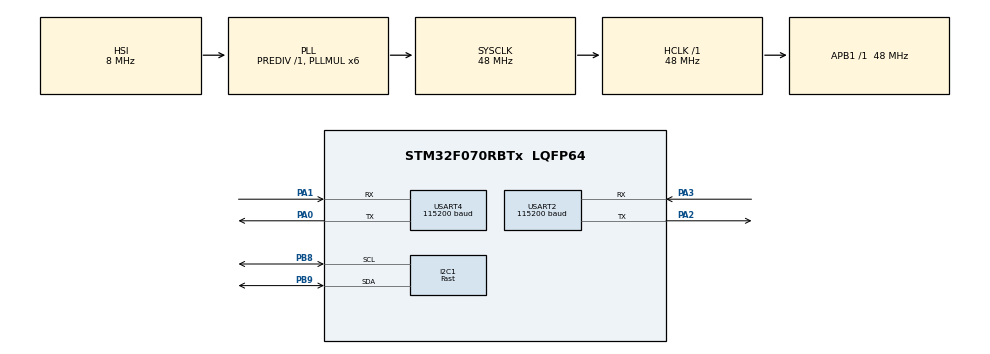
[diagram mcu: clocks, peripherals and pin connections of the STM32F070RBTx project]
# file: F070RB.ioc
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I2C1.I2C_Coeff_DF=5
I2C1.I2C_Fall_Time=300
I2C1.I2C_Rise_Time=300
I2C1.I2C_Speed_Mode=I2C_Fast
I2C1.Timing=0x00300003
Mcu.Family=STM32F0
Mcu.Name=STM32F070RBTx
Mcu.Package=LQFP64
NVIC.TIM3_IRQn=true\:0\:0\:false\:false\:true\:true
NVIC.USART2_IRQn=true\:1\:0\:true\:false\:true\:true
NVIC.USART3_4_IRQn=true\:0\:0\:true\:false\:true\:true
PA0.Mode=Asynchronous
PA0.Signal=USART4_TX
PA1.Mode=Asynchronous
PA1.Signal=USART4_RX
PA2.Mode=Asynchronous
PA2.Signal=USART2_TX
PA3.Mode=Asynchronous
PA3.Signal=USART2_RX
PB8.Mode=I2C
PB8.Signal=I2C1_SCL
PB9.Mode=I2C
PB9.Signal=I2C1_SDA
PC14-OSC32_IN.Mode=LSE-External-Oscillator
PC14-OSC32_IN.Signal=RCC_OSC32_IN
PC15-OSC32_OUT.Mode=LSE-External-Oscillator
PC15-OSC32_OUT.Signal=RCC_OSC32_OUT
ProjectManager.HeapSize=0x400
ProjectManager.StackSize=0x800
ProjectManager.TargetToolchain=MDK-ARM V5
RCC.AHBFreq_Value=48000000
RCC.APB1Freq_Value=48000000
RCC.APB1TimFreq_Value=48000000
RCC.HCLKFreq_Value=48000000
RCC.PLLMUL=RCC_PLL_MUL6
RCC.SYSCLKFreq_VALUE=48000000
RCC.SYSCLKSource=RCC_SYSCLKSOURCE_PLLCLK
TIM3.Period=65535
USART2.BaudRate=115200
USART2.VirtualMode-Asynchronous=VM_ASYNC
USART2.WordLength=WORDLENGTH_8B
USART4.BaudRate=115200
USART4.VirtualMode-Asynchronous=VM_ASYNC
USART4.WordLength=WORDLENGTH_8B
VP_TIM3_VS_ClockSourceINT.Mode=Internal
board=F070RB

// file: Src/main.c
/**
  ******************************************************************************
  * @file           : main.c
  * @brief          : Main program body
  ******************************************************************************
  ** This notice applies to any and all portions of this file
  * that are not between comment pairs USER CODE BEGIN and
  * USER CODE END. Other portions of this file, whether
  * inserted by the user or by software development tools
  * are owned by their respective copyright owners.
  *
  * COPYRIGHT(c) 2018 STMicroelectronics
  *
  * Redistribution and use in source and binary forms, with or without modification,
  * are permitted provided that the following conditions are met:
  *   1. Redistributions of source code must retain the above copyright notice,
  *      this list of conditions and the following disclaimer.
  *   2. Redistributions in binary form must reproduce the above copyright notice,
  *      this list of conditions and the following disclaimer in the documentation
  *      and/or other materials provided with the distribution.
  *   3. Neither the name of STMicroelectronics nor the names of its contributors
  *      may be used to endorse or promote products derived from this software
  *      without specific prior written permission.
  *
  * THIS SOFTWARE IS PROVIDED BY THE COPYRIGHT HOLDERS AND CONTRIBUTORS "AS IS"
  * AND ANY EXPRESS OR IMPLIED WARRANTIES, INCLUDING, BUT NOT LIMITED TO, THE
  * IMPLIED WARRANTIES OF MERCHANTABILITY AND FITNESS FOR A PARTICULAR PURPOSE ARE
  * DISCLAIMED. IN NO EVENT SHALL THE COPYRIGHT HOLDER OR CONTRIBUTORS BE LIABLE
  * FOR ANY DIRECT, INDIRECT, INCIDENTAL, SPECIAL, EXEMPLARY, OR CONSEQUENTIAL
  * DAMAGES (INCLUDING, BUT NOT LIMITED TO, PROCUREMENT OF SUBSTITUTE GOODS OR
  * SERVICES; LOSS OF USE, DATA, OR PROFITS; OR BUSINESS INTERRUPTION) HOWEVER
  * CAUSED AND ON ANY THEORY OF LIABILITY, WHETHER IN CONTRACT, STRICT LIABILITY,
  * OR TORT (INCLUDING NEGLIGENCE OR OTHERWISE) ARISING IN ANY WAY OUT OF THE USE
  * OF THIS SOFTWARE, EVEN IF ADVISED OF THE POSSIBILITY OF SUCH DAMAGE.
  *
  ******************************************************************************
  */
#include "main.h"
#include "stm32f0xx_hal.h"
#include "i2c.h"
#include "tim.h"
#include "usart.h"
#include "gpio.h"

/* USER CODE BEGIN Includes */
#include "JY901.h"
#include "MadgwickAHRS.h"
#include "mpu9250.h"

/* USER CODE END Includes */

/* USER CODE BEGIN PV */
/* Private variables ---------------------------------------------------------*/
uint8_t data;
/* USER CODE END PV */

void SystemClock_Config(void);

/* USER CODE BEGIN PFP */
/* Private function prototypes -----------------------------------------------*/

/* USER CODE END PFP */

int main(void)
{

  /* MCU Configuration----------------------------------------------------------*/

  /* Reset of all peripherals, Initializes the Flash interface and the Systick. */
  HAL_Init();

  /* Configure the system clock */
  SystemClock_Config();

  /* Initialize all configured peripherals */
  MX_GPIO_Init();
  MX_USART2_UART_Init();
  MX_USART4_UART_Init();
  MX_TIM3_Init();
  MX_I2C1_Init();
  /* USER CODE BEGIN 2 */
  MPU9250_Init();
//  JY901_RAW.DataReady = RESET;
//  JY901_RAW.Cnt = 0;
//  HAL_UART_Receive_IT(&huart4, &RxData,1);

  /* USER CODE END 2 */

  /* Infinite loop */
  while (1)
  {

  /* USER CODE BEGIN 3 */
//    if(JY901_RAW.DataReady!=RESET){
//      DataConvert();
//      TimerStart();
//      MadgwickAHRSupdate(JY901_RAW.Gyro.x,JY901_RAW.Gyro.y,JY901_RAW.Gyro.y,JY901_RAW.Accel.x,JY901_RAW.Accel.y,JY901_RAW.Accel.z,JY901_RAW.Magneto.x,JY901_RAW.Magneto.y,JY901_RAW.Magneto.z);
//      TimerStop();
//      printf("9 axis time = %d\r\n",TimCnt);
//      TimerStart();
//      MadgwickAHRSupdateIMU(JY901_RAW.Gyro.x,JY901_RAW.Gyro.y,JY901_RAW.Gyro.y,JY901_RAW.Accel.x,JY901_RAW.Accel.y,JY901_RAW.Accel.z);
//      TimerStop();
//      printf("6 axis time = %d\r\n",TimCnt);
//      printf("---------------------------\r\n");
//
//      HAL_UART_Receive_IT(&huart4,&RxData,1);
//    }
    TimerStart();
    MPU9250_GetRaw();
    if(MPU9250_RAW.Ready!=RESET){
      MPU9250_Convert();
      MadgwickAHRSupdate(MPU9250_RAW.G.x,MPU9250_RAW.G.y,MPU9250_RAW.G.z,MPU9250_RAW.A.x,MPU9250_RAW.A.y,MPU9250_RAW.A.z,MPU9250_RAW.M.x,MPU9250_RAW.M.y,MPU9250_RAW.M.z);
      TimerStop();
      printf("9 axis time = %d\r\n",TimCnt);
      printf("------------------------------------------------");
    }
    HAL_Delay(500);
    TimerStart();
    MPU9250_GetRaw();
    if(MPU9250_RAW.Ready!=RESET){
      MPU9250_Convert();
      MadgwickAHRSupdateIMU(MPU9250_RAW.G.x,MPU9250_RAW.G.y,MPU9250_RAW.G.z,MPU9250_RAW.A.x,MPU9250_RAW.A.y,MPU9250_RAW.A.z);
      TimerStop();
      printf("6 axis time = %d\r\n",TimCnt);
      printf("------------------------------------------------");
    }
    HAL_Delay(500);
  }
  /* USER CODE END 3 */

}

void SystemClock_Config(void)
{

  RCC_OscInitTypeDef RCC_OscInitStruct;
  RCC_ClkInitTypeDef RCC_ClkInitStruct;
  RCC_PeriphCLKInitTypeDef PeriphClkInit;

    /**Initializes the CPU, AHB and APB busses clocks
    */
  RCC_OscInitStruct.OscillatorType = RCC_OSCILLATORTYPE_HSI;
  RCC_OscInitStruct.HSIState = RCC_HSI_ON;
  RCC_OscInitStruct.HSICalibrationValue = 16;
  RCC_OscInitStruct.PLL.PLLState = RCC_PLL_ON;
  RCC_OscInitStruct.PLL.PLLSource = RCC_PLLSOURCE_HSI;
  RCC_OscInitStruct.PLL.PLLMUL = RCC_PLL_MUL6;
  RCC_OscInitStruct.PLL.PREDIV = RCC_PREDIV_DIV1;
  if (HAL_RCC_OscConfig(&RCC_OscInitStruct) != HAL_OK)
  {
    _Error_Handler(__FILE__, __LINE__);
  }

    /**Initializes the CPU, AHB and APB busses clocks
    */
  RCC_ClkInitStruct.ClockType = RCC_CLOCKTYPE_HCLK|RCC_CLOCKTYPE_SYSCLK
                              |RCC_CLOCKTYPE_PCLK1;
  RCC_ClkInitStruct.SYSCLKSource = RCC_SYSCLKSOURCE_PLLCLK;
  RCC_ClkInitStruct.AHBCLKDivider = RCC_SYSCLK_DIV1;
  RCC_ClkInitStruct.APB1CLKDivider = RCC_HCLK_DIV1;

  if (HAL_RCC_ClockConfig(&RCC_ClkInitStruct, FLASH_LATENCY_1) != HAL_OK)
  {
    _Error_Handler(__FILE__, __LINE__);
  }

  PeriphClkInit.PeriphClockSelection = RCC_PERIPHCLK_I2C1;
  PeriphClkInit.I2c1ClockSelection = RCC_I2C1CLKSOURCE_HSI;
  if (HAL_RCCEx_PeriphCLKConfig(&PeriphClkInit) != HAL_OK)
  {
    _Error_Handler(__FILE__, __LINE__);
  }

    /**Configure the Systick interrupt time
    */
  HAL_SYSTICK_Config(HAL_RCC_GetHCLKFreq()/1000);

    /**Configure the Systick
    */
  HAL_SYSTICK_CLKSourceConfig(SYSTICK_CLKSOURCE_HCLK);

  /* SysTick_IRQn interrupt configuration */
  HAL_NVIC_SetPriority(SysTick_IRQn, 0, 0);
}

void _Error_Handler(char *file, int line)
{
  while(1)
  {
  }
}

/************************ (C) COPYRIGHT STMicroelectronics *****END OF FILE****/
